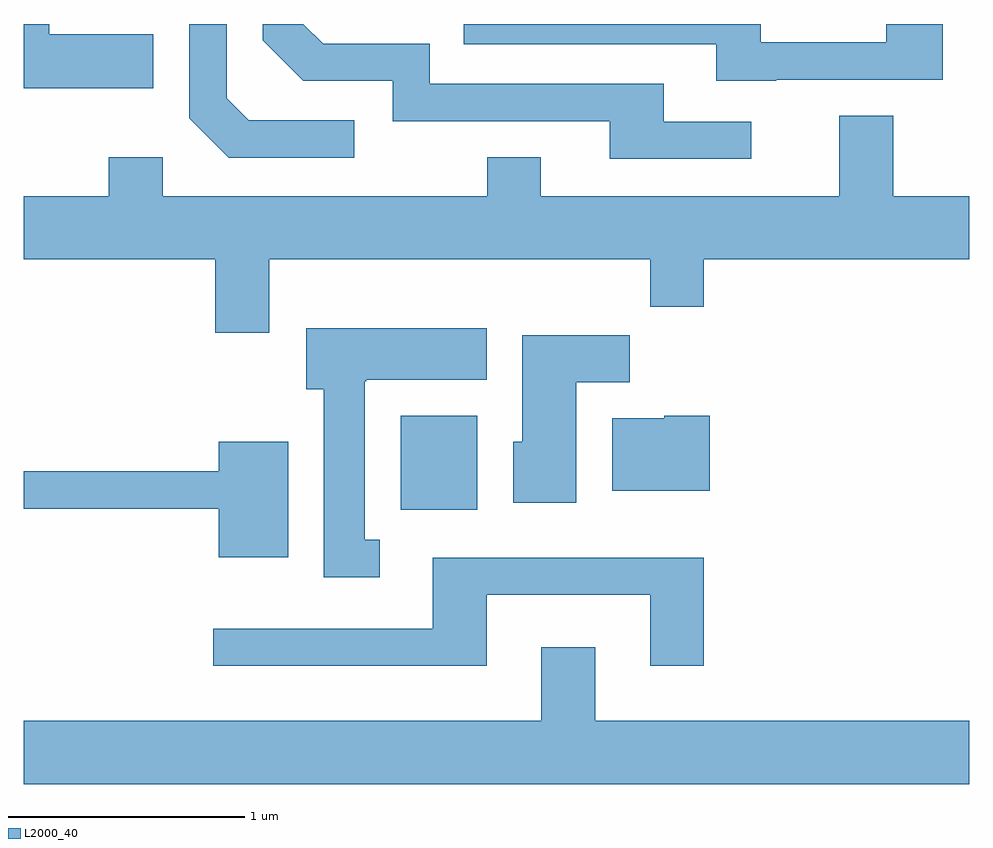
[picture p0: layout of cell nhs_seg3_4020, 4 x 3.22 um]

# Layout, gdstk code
import gdstk
lib = gdstk.Library(unit=1e-6, precision=1e-09)
def R(c, l, rs):  # rectangles x0, y0, x1, y1
    for r in rs: c.add(gdstk.rectangle(r[:2], r[2:], *l))
def P(c, l, *ps):  # polygons
    for p in ps: c.add(gdstk.Polygon(p, *l))
L2000_40 = (2000, 40)

nhs_seg3_4020 = lib.new_cell('nhs_seg3_4020')
R(nhs_seg3_4020, L2000_40, [(305.206,1133.836,305.529,1134.234)])
P(nhs_seg3_4020, L2000_40, [(306.795,1135.656),(307.499,1135.656),(307.499,1135.892),(307.261,1135.892),(307.261,1135.814),(306.729,1135.814),(306.729,1135.892),(305.473,1135.892),(305.473,1135.806),(306.541,1135.806),(306.541,1135.651),(306.795,1135.651)],
  [(304.159,1135.849),(303.719,1135.849),(303.719,1135.892),(303.611,1135.892),(303.611,1135.621),(304.159,1135.621)],
  [(305.008,1135.484),(304.562,1135.484),(304.469,1135.577),(304.469,1135.892),(304.311,1135.892),(304.311,1135.494),(304.479,1135.326),(305.008,1135.326)],
  [(306.688,1135.479),(306.319,1135.479),(306.319,1135.639),(305.329,1135.639),(305.329,1135.809),(304.877,1135.809),(304.794,1135.892),(304.621,1135.892),(304.621,1135.824),(304.794,1135.651),(305.171,1135.651),(305.171,1135.481),(306.091,1135.481),(306.091,1135.321),(306.688,1135.321)],
  [(304.649,1134.896),(306.261,1134.896),(306.261,1134.696),(306.489,1134.696),(306.489,1134.896),(307.611,1134.896),(307.611,1135.164),(307.289,1135.164),(307.289,1135.504),(307.061,1135.504),(307.061,1135.164),(305.799,1135.164),(305.799,1135.329),(305.571,1135.329),(305.571,1135.164),(304.199,1135.164),(304.199,1135.329),(303.971,1135.329),(303.971,1135.164),(303.611,1135.164),(303.611,1134.896),(304.421,1134.896),(304.421,1134.586),(304.649,1134.586)],
  [(305.118,1133.709),(305.054,1133.709),(305.054,1134.38),(305.06,1134.38),(305.06,1134.386),(305.569,1134.386),(305.569,1134.604),(304.806,1134.604),(304.806,1134.346),(304.881,1134.346),(304.881,1133.551),(305.118,1133.551)],
  [(305.949,1134.376),(306.174,1134.376),(306.174,1134.574),(305.721,1134.574),(305.721,1134.124),(305.681,1134.124),(305.681,1133.866),(305.949,1133.866)],
  [(306.514,1134.234),(306.32,1134.234),(306.32,1134.224),(306.101,1134.224),(306.101,1133.916),(306.514,1133.916)],
  [(304.729,1134.124),(304.436,1134.124),(304.436,1133.999),(303.611,1133.999),(303.611,1133.841),(304.436,1133.841),(304.436,1133.636),(304.729,1133.636)],
  [(305.569,1133.476),(306.261,1133.476),(306.261,1133.176),(306.489,1133.176),(306.489,1133.634),(305.341,1133.634),(305.341,1133.334),(304.413,1133.334),(304.413,1133.176),(305.569,1133.176)],
  [(307.611,1132.944),(306.029,1132.944),(306.029,1133.254),(305.801,1133.254),(305.801,1132.944),(303.611,1132.944),(303.611,1132.676),(307.611,1132.676)])

lib.write_gds('nhs_seg3_4020.gds')
